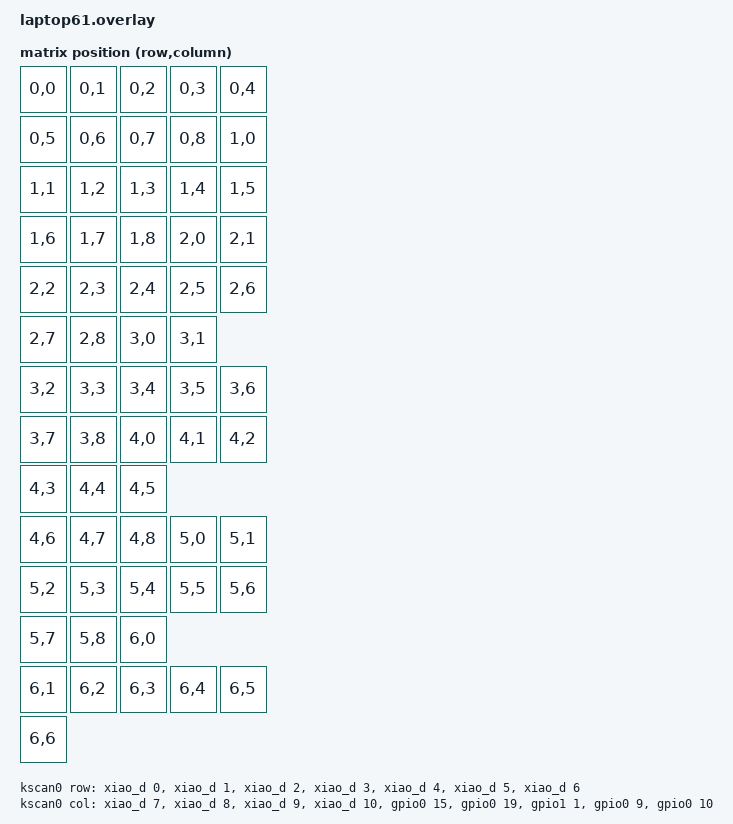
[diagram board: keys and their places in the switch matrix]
#include <dt-bindings/zmk/matrix_transform.h>
#include <dt-bindings/gpio/gpio.h>

&uicr {
nfct-pins-as-gpios;
};

/ {
    chosen {
        zmk,kscan = &kscan0;
        zmk,physical-layout = &physical_layout0;
    };

    kscan0: kscan0 {
        compatible = "zmk,kscan-gpio-matrix";
        diode-direction = "row2col"; /* PROVISIONAL: diode orientation must match */
        wakeup-source;

        row-gpios =
            <&xiao_d 0 GPIO_ACTIVE_HIGH>,
            <&xiao_d 1 GPIO_ACTIVE_HIGH>,
            <&xiao_d 2 GPIO_ACTIVE_HIGH>,
            <&xiao_d 3 GPIO_ACTIVE_HIGH>,
            <&xiao_d 4 GPIO_ACTIVE_HIGH>,
            <&xiao_d 5 GPIO_ACTIVE_HIGH>,
            <&xiao_d 6 GPIO_ACTIVE_HIGH>;

        col-gpios =
            <&xiao_d 7 (GPIO_ACTIVE_HIGH | GPIO_PULL_DOWN)>,
            <&xiao_d 8 (GPIO_ACTIVE_HIGH | GPIO_PULL_DOWN)>,
            <&xiao_d 9 (GPIO_ACTIVE_HIGH | GPIO_PULL_DOWN)>,
            <&xiao_d 10 (GPIO_ACTIVE_HIGH | GPIO_PULL_DOWN)>,
            <&gpio0 15 (GPIO_ACTIVE_HIGH | GPIO_PULL_DOWN)>,
            <&gpio0 19 (GPIO_ACTIVE_HIGH | GPIO_PULL_DOWN)>,
            <&gpio1 1 (GPIO_ACTIVE_HIGH | GPIO_PULL_DOWN)>,
            <&gpio0 9 (GPIO_ACTIVE_HIGH | GPIO_PULL_DOWN)>,
            <&gpio0 10 (GPIO_ACTIVE_HIGH | GPIO_PULL_DOWN)>;
    };

    default_transform: matrix_transform {
        compatible = "zmk,matrix-transform";
        rows = <7>;
        columns = <9>;
        /* Temporary row-major mapping for build validation only; not the final physical layout. */
                map = <
        /* 物理1段目：15キー */
        RC(0,0) RC(0,1) RC(0,2) RC(0,3) RC(0,4)
        RC(0,5) RC(0,6) RC(0,7) RC(0,8) RC(1,0)
        RC(1,1) RC(1,2) RC(1,3) RC(1,4) RC(1,5)

        /* 物理2段目：14キー */
        RC(1,6) RC(1,7) RC(1,8) RC(2,0) RC(2,1)
        RC(2,2) RC(2,3) RC(2,4) RC(2,5) RC(2,6)
        RC(2,7) RC(2,8) RC(3,0) RC(3,1)

        /* 物理3段目：13キー */
        RC(3,2) RC(3,3) RC(3,4) RC(3,5) RC(3,6)
        RC(3,7) RC(3,8) RC(4,0) RC(4,1) RC(4,2)
        RC(4,3) RC(4,4) RC(4,5)

        /* 物理4段目：13キー */
        RC(4,6) RC(4,7) RC(4,8) RC(5,0) RC(5,1)
        RC(5,2) RC(5,3) RC(5,4) RC(5,5) RC(5,6)
        RC(5,7) RC(5,8) RC(6,0)

        /* 物理5段目：6キー */
        RC(6,1) RC(6,2) RC(6,3) RC(6,4) RC(6,5)
        RC(6,6)
        >;
    };

    physical_layout0: physical_layout_0 {
        compatible = "zmk,physical-layout";
        display-name = "Laptop61 provisional";
        kscan = <&kscan0>;
        transform = <&default_transform>;
    };
};
